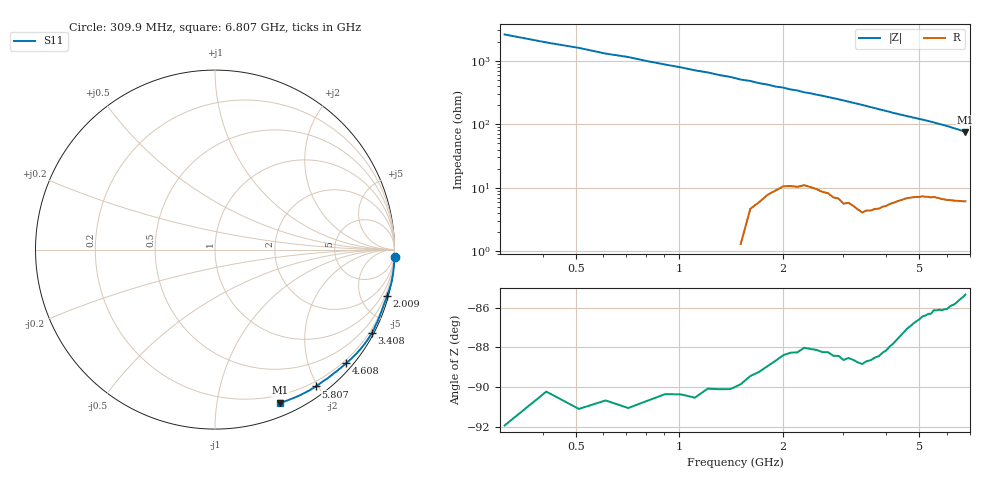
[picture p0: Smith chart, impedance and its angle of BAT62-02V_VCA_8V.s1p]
! Infineon Technologies  Discrete & RF Semiconductors
! BAT62-02V
! VCA = 8 V
! One-Port S-Parameters
# Hz  S  MA  R  50
!f  S11
!Hz  Mag  Ang
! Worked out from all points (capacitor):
!   66 points, 309.9 MHz to 6.807 GHz, reference 50 ohm
!   read as one part to ground: C = 199 fF near 309.9 MHz
!   lowest |Z| = 75.6 ohm at 6.807 GHz (marker M1)
!   S11 on the Smith chart (normalised r, x): 309.9 MHz: -2, -52; 2.009 GHz: 0.21, -7.54; 3.408 GHz: 0.08, -4.02; 4.608 GHz: 0.14, -2.67; 5.807 GHz: 0.13, -1.97; 6.807 GHz: 0.12, -1.51
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3.0985e8  1.001 -2.2
6.097e8  1.001 -4.4
7.0965e8  1.002 -5.0
1.10945e9  1.001 -8.1
1.2094e9  1 -8.8
1.30935e9  1 -9.6
1.4093e9  1 -10.3
1.50925e9  0.9995 -11.3
1.6092e9  0.998 -11.9
1.8091e9  0.9957 -13.6
1.90905e9  0.9941 -14.6
2.009e9  0.9927 -15.1
2.10895e9  0.9916 -16.1
2.2089e9  0.9912 -16.8
2.30885e9  0.9894 -17.9
2.4088e9  0.9894 -18.5
2.8086e9  0.9897 -22.0
3.0085e9  0.9904 -23.9
3.4083e9  0.9905 -27.9
3.6082e9  0.9882 -30.1
4.008e9  0.9818 -34.5
4.4078e9  0.972 -38.9
4.6077e9  0.9668 -41.0
5.2074e9  0.9552 -46.9
5.8071e9  0.9471 -53.6
6.007e9  0.9448 -56.0
6.4068e9  0.9371 -61.2
6.8066e9  0.9279 -66.9
